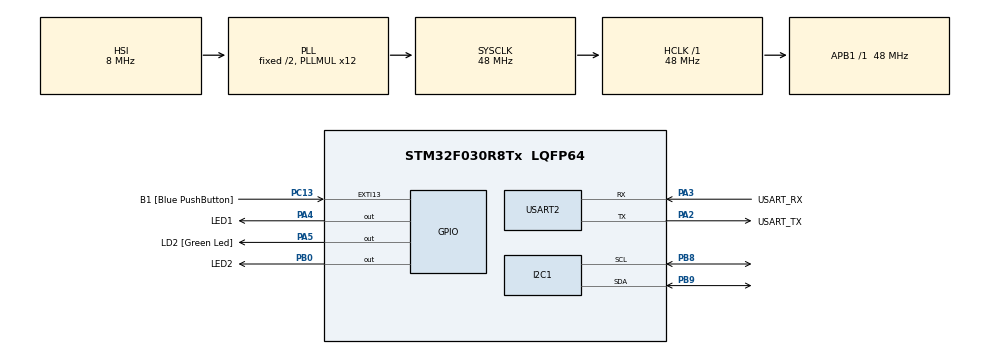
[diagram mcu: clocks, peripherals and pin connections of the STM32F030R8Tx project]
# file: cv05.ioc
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Dma.Request0=USART2_RX
Dma.USART2_RX.0.Direction=DMA_PERIPH_TO_MEMORY
Dma.USART2_RX.0.Instance=DMA1_Channel5
Dma.USART2_RX.0.MemDataAlignment=DMA_MDATAALIGN_BYTE
Dma.USART2_RX.0.MemInc=DMA_MINC_ENABLE
Dma.USART2_RX.0.Mode=DMA_CIRCULAR
Dma.USART2_RX.0.PeriphDataAlignment=DMA_PDATAALIGN_BYTE
Dma.USART2_RX.0.PeriphInc=DMA_PINC_DISABLE
Dma.USART2_RX.0.Priority=DMA_PRIORITY_LOW
Mcu.Family=STM32F0
Mcu.Name=STM32F030R8Tx
Mcu.Package=LQFP64
NVIC.DMA1_Channel4_5_IRQn=true\:0\:0\:false\:false\:true\:false\:true
PA13.GPIO_Label=TMS
PA13.Mode=Serial_Wire
PA13.Signal=SYS_SWDIO
PA14.GPIO_Label=TCK
PA14.Mode=Serial_Wire
PA14.Signal=SYS_SWCLK
PA2.GPIO_Label=USART_TX
PA2.GPIO_Mode=GPIO_MODE_AF_PP
PA2.GPIO_PuPd=GPIO_NOPULL
PA2.GPIO_Speed=GPIO_SPEED_FREQ_LOW
PA2.Mode=Asynchronous
PA2.Signal=USART2_TX
PA3.GPIO_Label=USART_RX
PA3.GPIO_Mode=GPIO_MODE_AF_PP
PA3.GPIO_PuPd=GPIO_NOPULL
PA3.GPIO_Speed=GPIO_SPEED_FREQ_LOW
PA3.Mode=Asynchronous
PA3.Signal=USART2_RX
PA4.GPIO_Label=LED1
PA4.Signal=GPIO_Output
PA5.GPIO_Label=LD2 [Green Led]
PA5.GPIO_Mode=GPIO_MODE_OUTPUT_PP
PA5.GPIO_PuPd=GPIO_NOPULL
PA5.GPIO_Speed=GPIO_SPEED_FREQ_LOW
PA5.Signal=GPIO_Output
PB0.GPIO_Label=LED2
PB0.Signal=GPIO_Output
PB8.Mode=I2C
PB8.Signal=I2C1_SCL
PB9.Mode=I2C
PB9.Signal=I2C1_SDA
PC13.GPIO_Label=B1 [Blue PushButton]
PC13.GPIO_ModeDefaultEXTI=GPIO_MODE_IT_FALLING
PC13.Signal=GPXTI13
PC14-OSC32_IN.Mode=LSE-External-Oscillator
PC14-OSC32_IN.Signal=RCC_OSC32_IN
PC15-OSC32_OUT.Mode=LSE-External-Oscillator
PC15-OSC32_OUT.Signal=RCC_OSC32_OUT
PF0-OSC_IN.Mode=HSE-External-Clock-Source
PF0-OSC_IN.Signal=RCC_OSC_IN
PF1-OSC_OUT.Signal=RCC_OSC_OUT
ProjectManager.HeapSize=0x200
ProjectManager.StackSize=0x400
ProjectManager.TargetToolchain=STM32CubeIDE
RCC.AHBFreq_Value=48000000
RCC.APB1Freq_Value=48000000
RCC.APB1TimFreq_Value=48000000
RCC.HCLKFreq_Value=48000000
RCC.PLLMUL=RCC_PLL_MUL12
RCC.SYSCLKFreq_VALUE=48000000
RCC.SYSCLKSource=RCC_SYSCLKSOURCE_PLLCLK
USART2.VirtualMode-Asynchronous=VM_ASYNC
board=NUCLEO-F030R8

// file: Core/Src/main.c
/* USER CODE BEGIN Header */
/**
  ******************************************************************************
  * @file           : main.c
  * @brief          : Main program body
  ******************************************************************************
  * @attention
  *
  * <h2><center>&copy; Copyright (c) 2020 STMicroelectronics.
  * All rights reserved.</center></h2>
  *
  * This software component is licensed by ST under BSD 3-Clause license,
  * the "License"; You may not use this file except in compliance with the
  * License. You may obtain a copy of the License at:
  *                        opensource.org/licenses/BSD-3-Clause
  *
  ******************************************************************************
  */
/* USER CODE END Header */

#include "main.h"

/* USER CODE BEGIN Includes */
#include  <stdio.h>
#include  <string.h>
/* USER CODE END Includes */

/* USER CODE BEGIN PTD */
#define RX_BUFFER_LEN 64
static uint8_t uart_rx_buf[RX_BUFFER_LEN];
static volatile uint16_t uart_rx_read_ptr = 0;
#define uart_rx_write_ptr (RX_BUFFER_LEN - hdma_usart2_rx.Instance->CNDTR)
#define CMD_BUFFER_LEN 256
#define PAUSE 2000
#define EEPROM_ADDR 0xA0
/* USER CODE END PTD */

I2C_HandleTypeDef hi2c1;

UART_HandleTypeDef huart2;
DMA_HandleTypeDef hdma_usart2_rx;

/* USER CODE BEGIN PV */
static uint32_t tick;
/* USER CODE END PV */

void SystemClock_Config(void);
static void MX_GPIO_Init(void);
static void MX_DMA_Init(void);
static void MX_USART2_UART_Init(void);
static void MX_I2C1_Init(void);

/* USER CODE BEGIN 0 */
static void uart_byte_available(uint8_t c);
static void uart_process_command(char *data);

/* USER CODE END 0 */

int main(void)
{

  /* MCU Configuration--------------------------------------------------------*/

  /* Reset of all peripherals, Initializes the Flash interface and the Systick. */
  HAL_Init();

  /* Configure the system clock */
  SystemClock_Config();

  /* Initialize all configured peripherals */
  MX_GPIO_Init();
  MX_DMA_Init();
  MX_USART2_UART_Init();
  MX_I2C1_Init();
  /* USER CODE BEGIN 2 */
  HAL_UART_Receive_DMA(&huart2, uart_rx_buf, RX_BUFFER_LEN);
  /* USER CODE END 2 */

  /* Infinite loop */
  while (1)
  {

    /* USER CODE BEGIN 3 */
	  while (uart_rx_read_ptr != uart_rx_write_ptr) {
		  uint8_t b = uart_rx_buf[uart_rx_read_ptr];
		  if (++uart_rx_read_ptr >= RX_BUFFER_LEN)
		  {
	      uart_rx_read_ptr = 0; // increase read pointer
		  tick = HAL_GetTick();
		  }
		  uart_byte_available(b); // process every received byte with the RX state machine

	  }
  }
  /* USER CODE END 3 */
}

void SystemClock_Config(void)
{
  RCC_OscInitTypeDef RCC_OscInitStruct = {0};
  RCC_ClkInitTypeDef RCC_ClkInitStruct = {0};
  RCC_PeriphCLKInitTypeDef PeriphClkInit = {0};

  /** Initializes the CPU, AHB and APB busses clocks
  */
  RCC_OscInitStruct.OscillatorType = RCC_OSCILLATORTYPE_HSI;
  RCC_OscInitStruct.HSIState = RCC_HSI_ON;
  RCC_OscInitStruct.HSICalibrationValue = RCC_HSICALIBRATION_DEFAULT;
  RCC_OscInitStruct.PLL.PLLState = RCC_PLL_ON;
  RCC_OscInitStruct.PLL.PLLSource = RCC_PLLSOURCE_HSI;
  RCC_OscInitStruct.PLL.PLLMUL = RCC_PLL_MUL12;
  RCC_OscInitStruct.PLL.PREDIV = RCC_PREDIV_DIV1;
  if (HAL_RCC_OscConfig(&RCC_OscInitStruct) != HAL_OK)
  {
    Error_Handler();
  }
  /** Initializes the CPU, AHB and APB busses clocks
  */
  RCC_ClkInitStruct.ClockType = RCC_CLOCKTYPE_HCLK|RCC_CLOCKTYPE_SYSCLK
                              |RCC_CLOCKTYPE_PCLK1;
  RCC_ClkInitStruct.SYSCLKSource = RCC_SYSCLKSOURCE_PLLCLK;
  RCC_ClkInitStruct.AHBCLKDivider = RCC_SYSCLK_DIV1;
  RCC_ClkInitStruct.APB1CLKDivider = RCC_HCLK_DIV1;

  if (HAL_RCC_ClockConfig(&RCC_ClkInitStruct, FLASH_LATENCY_1) != HAL_OK)
  {
    Error_Handler();
  }
  PeriphClkInit.PeriphClockSelection = RCC_PERIPHCLK_I2C1;
  PeriphClkInit.I2c1ClockSelection = RCC_I2C1CLKSOURCE_HSI;
  if (HAL_RCCEx_PeriphCLKConfig(&PeriphClkInit) != HAL_OK)
  {
    Error_Handler();
  }
}

static void MX_I2C1_Init(void)
{

  hi2c1.Instance = I2C1;
  hi2c1.Init.Timing = 0x2000090E;
  hi2c1.Init.OwnAddress1 = 0;
  hi2c1.Init.AddressingMode = I2C_ADDRESSINGMODE_7BIT;
  hi2c1.Init.DualAddressMode = I2C_DUALADDRESS_DISABLE;
  hi2c1.Init.OwnAddress2 = 0;
  hi2c1.Init.OwnAddress2Masks = I2C_OA2_NOMASK;
  hi2c1.Init.GeneralCallMode = I2C_GENERALCALL_DISABLE;
  hi2c1.Init.NoStretchMode = I2C_NOSTRETCH_DISABLE;
  if (HAL_I2C_Init(&hi2c1) != HAL_OK)
  {
    Error_Handler();
  }
  /** Configure Analogue filter
  */
  if (HAL_I2CEx_ConfigAnalogFilter(&hi2c1, I2C_ANALOGFILTER_ENABLE) != HAL_OK)
  {
    Error_Handler();
  }
  /** Configure Digital filter
  */
  if (HAL_I2CEx_ConfigDigitalFilter(&hi2c1, 0) != HAL_OK)
  {
    Error_Handler();
  }

}

static void MX_USART2_UART_Init(void)
{

  huart2.Instance = USART2;
  huart2.Init.BaudRate = 38400;
  huart2.Init.WordLength = UART_WORDLENGTH_8B;
  huart2.Init.StopBits = UART_STOPBITS_1;
  huart2.Init.Parity = UART_PARITY_NONE;
  huart2.Init.Mode = UART_MODE_TX_RX;
  huart2.Init.HwFlowCtl = UART_HWCONTROL_NONE;
  huart2.Init.OverSampling = UART_OVERSAMPLING_16;
  huart2.Init.OneBitSampling = UART_ONE_BIT_SAMPLE_DISABLE;
  huart2.AdvancedInit.AdvFeatureInit = UART_ADVFEATURE_NO_INIT;
  if (HAL_UART_Init(&huart2) != HAL_OK)
  {
    Error_Handler();
  }

}

static void MX_DMA_Init(void)
{

  /* DMA controller clock enable */
  __HAL_RCC_DMA1_CLK_ENABLE();

  /* DMA interrupt init */
  /* DMA1_Channel4_5_IRQn interrupt configuration */
  HAL_NVIC_SetPriority(DMA1_Channel4_5_IRQn, 0, 0);
  HAL_NVIC_EnableIRQ(DMA1_Channel4_5_IRQn);

}

static void MX_GPIO_Init(void)
{
  GPIO_InitTypeDef GPIO_InitStruct = {0};

  /* GPIO Ports Clock Enable */
  __HAL_RCC_GPIOC_CLK_ENABLE();
  __HAL_RCC_GPIOF_CLK_ENABLE();
  __HAL_RCC_GPIOA_CLK_ENABLE();
  __HAL_RCC_GPIOB_CLK_ENABLE();

  /*Configure GPIO pin Output Level */
  HAL_GPIO_WritePin(GPIOA, LED1_Pin|LD2_Pin, GPIO_PIN_RESET);

  /*Configure GPIO pin Output Level */
  HAL_GPIO_WritePin(LED2_GPIO_Port, LED2_Pin, GPIO_PIN_RESET);

  /*Configure GPIO pin : B1_Pin */
  GPIO_InitStruct.Pin = B1_Pin;
  GPIO_InitStruct.Mode = GPIO_MODE_IT_FALLING;
  GPIO_InitStruct.Pull = GPIO_NOPULL;
  HAL_GPIO_Init(B1_GPIO_Port, &GPIO_InitStruct);

  /*Configure GPIO pins : LED1_Pin LD2_Pin */
  GPIO_InitStruct.Pin = LED1_Pin|LD2_Pin;
  GPIO_InitStruct.Mode = GPIO_MODE_OUTPUT_PP;
  GPIO_InitStruct.Pull = GPIO_NOPULL;
  GPIO_InitStruct.Speed = GPIO_SPEED_FREQ_LOW;
  HAL_GPIO_Init(GPIOA, &GPIO_InitStruct);

  /*Configure GPIO pin : LED2_Pin */
  GPIO_InitStruct.Pin = LED2_Pin;
  GPIO_InitStruct.Mode = GPIO_MODE_OUTPUT_PP;
  GPIO_InitStruct.Pull = GPIO_NOPULL;
  GPIO_InitStruct.Speed = GPIO_SPEED_FREQ_LOW;
  HAL_GPIO_Init(LED2_GPIO_Port, &GPIO_InitStruct);

}

/* USER CODE BEGIN 4 */
static void uart_byte_available(uint8_t c)
{
	static uint16_t cnt;

	static char data[CMD_BUFFER_LEN];

	if (tick > HAL_GetTick()+PAUSE) cnt = 0;
	if (cnt < CMD_BUFFER_LEN && ((c>=32)&&(c<=126))) data[cnt++] = c;

	if (c == '\n' || c == '\r') {
		data[cnt] = '\0';
		uart_process_command(data);
		cnt = 0;
	}
}

static void uart_process_command(char *data){
	char *token;
	token = strtok(data, " ");
	if (strcasecmp(token, "HELLO") == 0) {
		printf("Komunikace OK\n");
	}
	else if (strcasecmp(token, "LED1")== 0) {
			token = strtok(NULL, " ");
			if(strcasecmp(token, "ON")== 0)  HAL_GPIO_WritePin(LED1_GPIO_Port, LED1_Pin, 1);
			else if(strcasecmp(token, "OFF")== 0) HAL_GPIO_WritePin(LED1_GPIO_Port, LED1_Pin, 0);
			printf("OK\n");
		}
	else if (strcasecmp(token, "LED2")== 0) {
		token = strtok(NULL, " ");
		if(strcasecmp(token, "ON")== 0)  HAL_GPIO_WritePin(LED2_GPIO_Port, LED2_Pin, 1);
		else if(strcasecmp(token, "OFF")== 0) HAL_GPIO_WritePin(LED2_GPIO_Port, LED2_Pin, 0);
		printf("OK\n");
	}
	else if (strcasecmp(token, "STATUS")== 0) {

		if(HAL_GPIO_ReadPin(LED1_GPIO_Port, LED1_Pin)==1) printf("LED1 ON\n");
		if(HAL_GPIO_ReadPin(LED1_GPIO_Port, LED1_Pin)==0) printf("LED1 OFF\n");
		if(HAL_GPIO_ReadPin(LED2_GPIO_Port, LED2_Pin)==1) printf("LED2 ON\n");
		if(HAL_GPIO_ReadPin(LED2_GPIO_Port, LED2_Pin)==0) printf("LED2 OFF\n");

	}
	else if (strcasecmp(token, "READ")== 0) {
		token = strtok(NULL, " ");
		uint32_t adresa = atoi(token);
		uint8_t result;
		HAL_I2C_Mem_Read(&hi2c1, EEPROM_ADDR, adresa,I2C_MEMADD_SIZE_16BIT, &result, 1, 1000);
		printf("OBSAH: %x\n",result);
	}
	else if (strcasecmp(token, "WRITE")== 0) {
		token = strtok(NULL, " ");
		uint32_t adresa = atoi(token);
		token = strtok(NULL, " ");
		uint8_t data = atoi(token);
		HAL_I2C_Mem_Write(&hi2c1, EEPROM_ADDR, adresa, I2C_MEMADD_SIZE_16BIT, &data, 1,1000);

		while (HAL_I2C_IsDeviceReady(&hi2c1, EEPROM_ADDR, 300, 1000) == HAL_TIMEOUT) {}

	}
	else if (strcasecmp(token, "DUMP")== 0) {
		printf("OK\n");
	}
}

int _write(int file, char const *buf, int n)
{
 /* stdout redirection to UART2 */
 HAL_UART_Transmit(&huart2, (uint8_t*)(buf), n, HAL_MAX_DELAY);
 return n;
}
/* USER CODE END 4 */

void Error_Handler(void)
{
}

/************************ (C) COPYRIGHT STMicroelectronics *****END OF FILE****/
